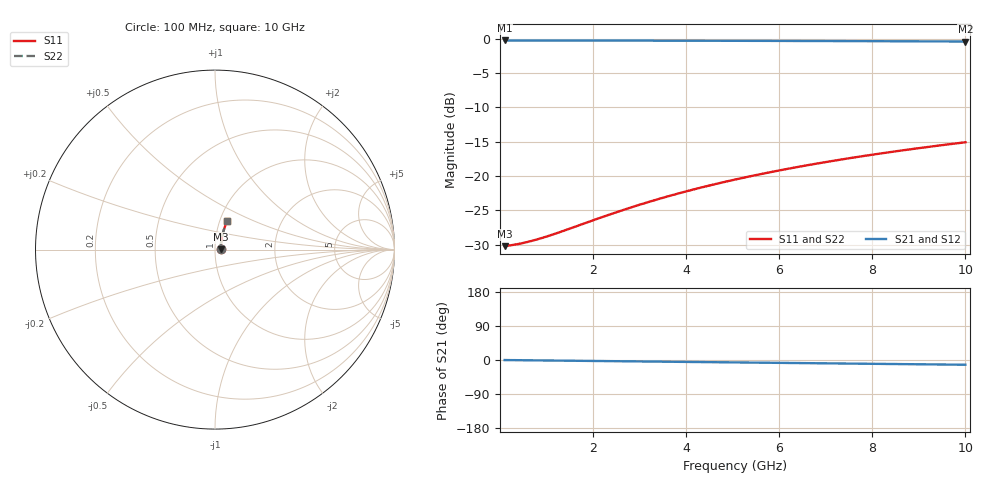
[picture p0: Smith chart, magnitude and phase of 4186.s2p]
# Hz S RI R 50.00
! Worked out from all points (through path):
!   100 points, 100 MHz to 10 GHz, reference 50 ohm
!   highest |S21| = -0.27 dB at 100 MHz (marker M1); lowest = -0.4 dB at 10 GHz (marker M2)
!   group delay of S21, straight-line fit = 3.48 ps
!   lowest |S11| = -30.2 dB at 100 MHz (marker M3), VSWR 1.06, Z = 53.2 + j0.18 ohm
!   |S11| at or under -10 dB: start of sweep to end of sweep
!   |S22| runs from -30.2 to -15.1 dB; largest |S21 - S12| = 0
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1e8  0.0308 0.00169  0.9692 -0.00214  0.9692 -0.00214  0.0308 0.00169
3e8  0.0312 0.00507  0.9688 -0.00641  0.9688 -0.00641  0.0312 0.00507
5e8  0.0315 0.00845  0.9685 -0.0107  0.9685 -0.0107  0.0315 0.00845
8e8  0.0318 0.0135  0.9681 -0.0171  0.9681 -0.0171  0.0318 0.0135
1e9  0.0321 0.0169  0.9679 -0.0213  0.9679 -0.0213  0.0321 0.0169
1.2e9  0.0324 0.0202  0.9676 -0.0256  0.9676 -0.0256  0.0324 0.0202
1.8e9  0.0333 0.0303  0.9667 -0.0383  0.9667 -0.0383  0.0333 0.0303
2.2e9  0.034 0.037  0.9659 -0.0468  0.9659 -0.0468  0.034 0.037
2.6e9  0.0348 0.0437  0.9651 -0.0553  0.9651 -0.0553  0.0348 0.0437
3e9  0.0358 0.0504  0.9641 -0.0638  0.9641 -0.0638  0.0358 0.0504
3.4e9  0.0368 0.057  0.9631 -0.0722  0.9631 -0.0722  0.0368 0.057
3.8e9  0.038 0.0637  0.9619 -0.0806  0.9619 -0.0806  0.038 0.0637
4.2e9  0.0392 0.0703  0.9606 -0.089  0.9606 -0.089  0.0392 0.0703
4.6e9  0.0406 0.0768  0.9592 -0.0973  0.9592 -0.0973  0.0406 0.0768
5.1e9  0.0424 0.085  0.9573 -0.1078  0.9573 -0.1078  0.0424 0.085
5.5e9  0.0441 0.0915  0.9556 -0.116  0.9556 -0.116  0.0441 0.0915
5.9e9  0.0458 0.098  0.9538 -0.1243  0.9538 -0.1243  0.0458 0.098
6.7e9  0.0495 0.1108  0.95 -0.1407  0.95 -0.1407  0.0495 0.1108
7.5e9  0.0537 0.1234  0.9457 -0.1569  0.9457 -0.1569  0.0537 0.1234
8.4e9  0.059 0.1374  0.9403 -0.175  0.9403 -0.175  0.059 0.1374
9.2e9  0.0641 0.1497  0.9351 -0.1908  0.9351 -0.1908  0.0641 0.1497
1e10  0.0695 0.1617  0.9294 -0.2064  0.9294 -0.2064  0.0695 0.1617
